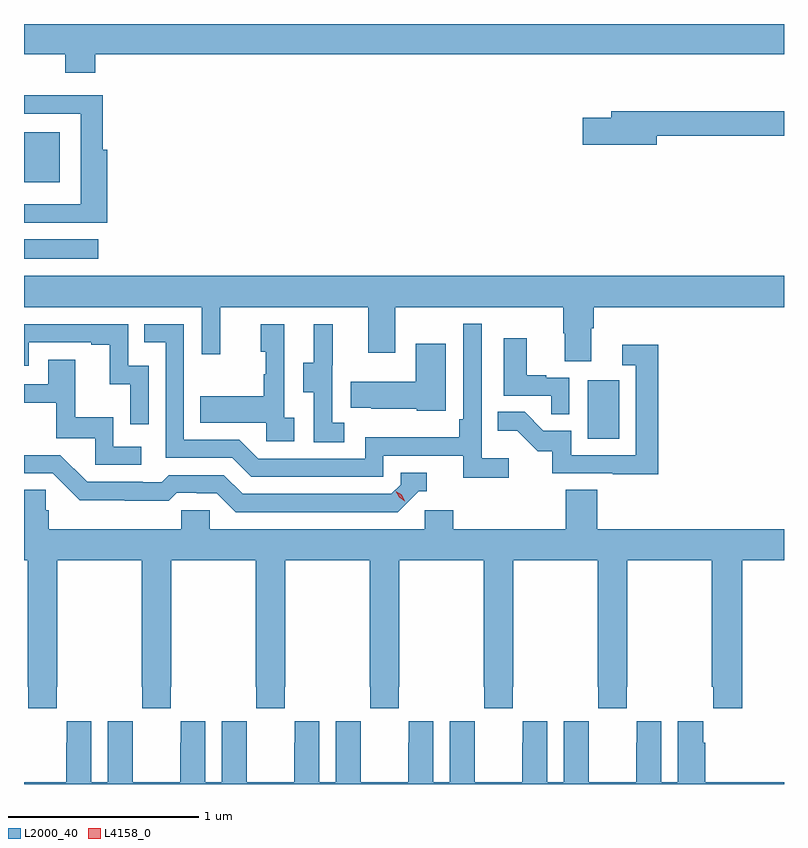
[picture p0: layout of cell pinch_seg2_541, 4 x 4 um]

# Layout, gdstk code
import gdstk
lib = gdstk.Library(unit=1e-6, precision=1e-09)
def R(c, l, rs):  # rectangles x0, y0, x1, y1
    for r in rs: c.add(gdstk.rectangle(r[:2], r[2:], *l))
def P(c, l, *ps):  # polygons
    for p in ps: c.add(gdstk.Polygon(p, *l))
L2000_40 = (2000, 40)
L4158_0 = (4158, 0)

pinch_seg2_541 = lib.new_cell('pinch_seg2_541')
R(pinch_seg2_541, L2000_40, [(1094.21,610.98,1094.374,611.287), (1091.242,611.927,1091.632,612.028), (1091.242,612.329,1091.431,612.592)])
P(pinch_seg2_541, L2000_40, [(1091.618,613.004),(1095.242,613.004),(1095.242,613.162),(1091.242,613.162),(1091.242,613.004),(1091.458,613.004),(1091.458,612.905),(1091.618,612.905)],
  [(1091.681,612.499),(1091.657,612.499),(1091.657,612.786),(1091.369,612.786),(1091.369,612.788),(1091.242,612.788),(1091.242,612.69),(1091.541,612.69),(1091.541,612.213),(1091.242,612.213),(1091.242,612.117),(1091.681,612.117)],
  [(1094.572,612.574),(1095.242,612.574),(1095.242,612.703),(1094.333,612.703),(1094.333,612.669),(1094.184,612.669),(1094.184,612.527),(1094.572,612.527)],
  [(1094.227,611.56),(1094.24,611.56),(1094.24,611.672),(1095.242,611.672),(1095.242,611.836),(1091.242,611.836),(1091.242,611.672),(1092.177,611.672),(1092.177,611.424),(1092.275,611.424),(1092.275,611.672),(1093.055,611.672),(1093.055,611.433),(1093.195,611.433),(1093.195,611.672),(1094.08,611.672),(1094.08,611.535),(1094.087,611.535),(1094.087,611.386),(1094.227,611.386)],
  [(1093.792,610.876),(1093.65,610.876),(1093.65,611.584),(1093.554,611.584),(1093.554,611.083),(1093.534,611.083),(1093.534,610.987),(1093.038,610.987),(1093.038,610.875),(1092.474,610.875),(1092.375,610.974),(1092.084,610.974),(1092.084,611.583),(1091.875,611.583),(1091.875,611.487),(1091.988,611.487),(1091.988,610.878),(1092.338,610.878),(1092.437,610.779),(1093.134,610.779),(1093.134,610.89),(1093.553,610.89),(1093.553,610.774),(1093.792,610.774)],
  [(1091.898,611.364),(1091.79,611.364),(1091.79,611.583),(1091.242,611.583),(1091.242,611.364),(1091.268,611.364),(1091.268,611.487),(1091.597,611.487),(1091.597,611.475),(1091.693,611.475),(1091.693,611.267),(1091.802,611.267),(1091.802,611.055),(1091.898,611.055)],
  [(1092.664,611.09),(1092.612,611.09),(1092.612,611.581),(1092.488,611.581),(1092.488,611.436),(1092.514,611.436),(1092.514,611.318),(1092.504,611.318),(1092.504,611.203),(1092.169,611.203),(1092.169,611.063),(1092.516,611.063),(1092.516,610.965),(1092.664,610.965)],
  [(1092.928,611.063),(1092.864,611.063),(1092.864,611.367),(1092.866,611.367),(1092.866,611.581),(1092.767,611.581),(1092.767,611.379),(1092.713,611.379),(1092.713,611.224),(1092.768,611.224),(1092.768,610.96),(1092.928,610.96)],
  [(1094.112,611.301),(1093.991,611.301),(1093.991,611.314),(1093.888,611.314),(1093.888,611.509),(1093.766,611.509),(1093.766,611.205),(1094.017,611.205),(1094.017,611.107),(1094.112,611.107)],
  [(1093.462,611.479),(1093.304,611.479),(1093.304,611.278),(1092.961,611.278),(1092.961,611.141),(1093.069,611.141),(1093.069,611.138),(1093.308,611.138),(1093.308,611.126),(1093.462,611.126)],
  [(1094.579,611.473),(1094.391,611.473),(1094.391,611.367),(1094.463,611.367),(1094.463,610.893),(1094.121,610.893),(1094.121,611.022),(1093.976,611.022),(1093.878,611.12),(1093.735,611.12),(1093.735,611.021),(1093.839,611.021),(1093.946,610.914),(1094.023,610.914),(1094.023,610.797),(1094.341,610.797),(1094.341,610.792),(1094.579,610.792)],
  [(1091.86,610.938),(1091.712,610.938),(1091.712,611.092),(1091.513,611.092),(1091.513,611.395),(1091.369,611.395),(1091.369,611.265),(1091.242,611.265),(1091.242,611.169),(1091.411,611.169),(1091.411,610.983),(1091.616,610.983),(1091.616,610.842),(1091.86,610.842)],
  [(1093.32,610.704),(1093.363,610.704),(1093.363,610.8),(1093.224,610.8),(1093.224,610.737),(1093.176,610.689),(1092.393,610.689),(1092.294,610.788),(1092.005,610.788),(1091.966,610.749),(1091.867,610.749),(1091.867,610.752),(1091.574,610.752),(1091.433,610.893),(1091.242,610.893),(1091.242,610.797),(1091.394,610.797),(1091.536,610.655),(1091.772,610.655),(1091.772,610.653),(1092.005,610.653),(1092.047,610.695),(1092.15,610.695),(1092.15,610.692),(1092.257,610.692),(1092.356,610.593),(1093.209,610.593)],
  [(1092.219,610.602),(1092.069,610.602),(1092.069,610.504),(1091.372,610.504),(1091.372,610.602),(1091.357,610.602),(1091.357,610.712),(1091.242,610.712),(1091.242,610.34),(1091.263,610.34),(1091.263,609.673),(1091.265,609.673),(1091.265,609.561),(1091.415,609.561),(1091.415,609.673),(1091.418,609.673),(1091.418,610.34),(1091.863,610.34),(1091.863,609.673),(1091.865,609.673),(1091.865,609.561),(1092.015,609.561),(1092.015,609.673),(1092.018,609.673),(1092.018,610.34),(1092.463,610.34),(1092.463,609.673),(1092.465,609.673),(1092.465,609.561),(1092.615,609.561),(1092.615,609.673),(1092.618,609.673),(1092.618,610.34),(1093.063,610.34),(1093.063,609.673),(1093.065,609.673),(1093.065,609.561),(1093.215,609.561),(1093.215,609.673),(1093.218,609.673),(1093.218,610.34),(1093.663,610.34),(1093.663,609.673),(1093.665,609.673),(1093.665,609.561),(1093.815,609.561),(1093.815,609.673),(1093.818,609.673),(1093.818,610.34),(1094.263,610.34),(1094.263,609.673),(1094.265,609.673),(1094.265,609.561),(1094.415,609.561),(1094.415,609.673),(1094.418,609.673),(1094.418,610.34),(1094.863,610.34),(1094.863,609.673),(1094.869,609.673),(1094.869,609.561),(1095.023,609.561),(1095.023,610.34),(1095.242,610.34),(1095.242,610.504),(1094.258,610.504),(1094.258,610.712),(1094.093,610.712),(1094.093,610.504),(1093.502,610.504),(1093.502,610.602),(1093.35,610.602),(1093.35,610.504),(1092.219,610.504)],
  [(1095.242,609.172),(1094.828,609.172),(1094.828,609.38),(1094.818,609.38),(1094.818,609.493),(1094.684,609.493),(1094.684,609.172),(1094.596,609.172),(1094.596,609.493),(1094.466,609.493),(1094.466,609.38),(1094.465,609.38),(1094.465,609.172),(1094.215,609.172),(1094.215,609.38),(1094.214,609.38),(1094.214,609.493),(1094.084,609.493),(1094.084,609.172),(1093.996,609.172),(1093.996,609.493),(1093.866,609.493),(1093.866,609.38),(1093.865,609.38),(1093.865,609.172),(1093.615,609.172),(1093.615,609.38),(1093.614,609.38),(1093.614,609.493),(1093.484,609.493),(1093.484,609.172),(1093.396,609.172),(1093.396,609.493),(1093.266,609.493),(1093.266,609.38),(1093.265,609.38),(1093.265,609.172),(1093.015,609.172),(1093.015,609.38),(1093.014,609.38),(1093.014,609.493),(1092.884,609.493),(1092.884,609.172),(1092.796,609.172),(1092.796,609.493),(1092.666,609.493),(1092.666,609.38),(1092.665,609.38),(1092.665,609.172),(1092.415,609.172),(1092.415,609.38),(1092.414,609.38),(1092.414,609.493),(1092.284,609.493),(1092.284,609.172),(1092.196,609.172),(1092.196,609.493),(1092.066,609.493),(1092.066,609.38),(1092.065,609.38),(1092.065,609.172),(1091.815,609.172),(1091.815,609.38),(1091.814,609.38),(1091.814,609.493),(1091.684,609.493),(1091.684,609.172),(1091.596,609.172),(1091.596,609.493),(1091.466,609.493),(1091.466,609.38),(1091.465,609.38),(1091.465,609.172),(1091.242,609.172),(1091.242,609.162),(1095.242,609.162)])
P(pinch_seg2_541, L4158_0, [(1093.247,610.651),(1093.216,610.67),(1093.199,610.702),(1093.199,610.702),(1093.199,610.702),(1093.231,610.684),(1093.247,610.652),(1093.247,610.651)])

lib.write_gds('pinch_seg2_541.gds')
